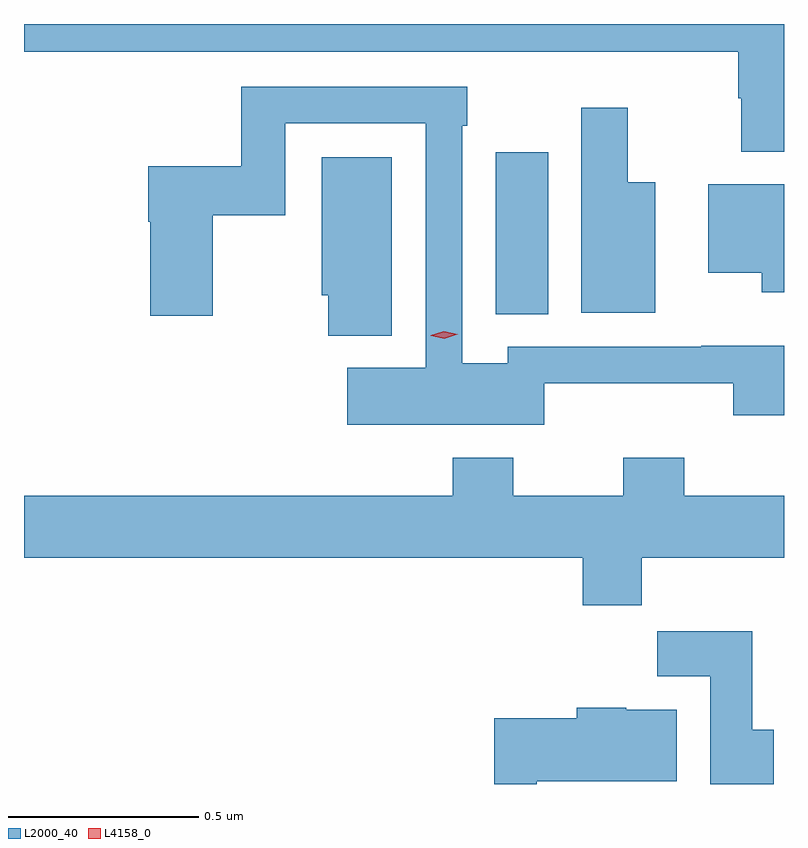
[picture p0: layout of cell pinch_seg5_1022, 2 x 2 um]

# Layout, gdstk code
import gdstk
lib = gdstk.Library(unit=1e-6, precision=1e-09)
def R(c, l, rs):  # rectangles x0, y0, x1, y1
    for r in rs: c.add(gdstk.rectangle(r[:2], r[2:], *l))
def P(c, l, *ps):  # polygons
    for p in ps: c.add(gdstk.Polygon(p, *l))
L2000_40 = (2000, 40)
L4158_0 = (4158, 0)

pinch_seg5_1022 = lib.new_cell('pinch_seg5_1022')
R(pinch_seg5_1022, L2000_40, [(750.107,865.393,750.244,865.819)])
P(pinch_seg5_1022, L2000_40, [(750.865,866.157),(748.865,866.157),(748.865,866.084),(750.745,866.084),(750.745,865.961),(750.753,865.961),(750.753,865.821),(750.865,865.821)],
  [(750.234,865.211),(750.731,865.211),(750.731,865.128),(750.865,865.128),(750.865,865.31),(750.647,865.31),(750.647,865.308),(750.138,865.308),(750.138,865.264),(750.018,865.264),(750.018,865.889),(750.031,865.889),(750.031,865.992),(749.437,865.992),(749.437,865.783),(749.192,865.783),(749.192,865.637),(749.197,865.637),(749.197,865.389),(749.362,865.389),(749.362,865.654),(749.553,865.654),(749.553,865.896),(749.922,865.896),(749.922,865.252),(749.715,865.252),(749.715,865.103),(750.234,865.103)],
  [(750.526,865.741),(750.454,865.741),(750.454,865.936),(750.332,865.936),(750.332,865.397),(750.526,865.397)],
  [(749.833,865.807),(749.648,865.807),(749.648,865.443),(749.666,865.443),(749.666,865.337),(749.833,865.337)],
  [(750.865,865.735),(750.665,865.735),(750.665,865.502),(750.807,865.502),(750.807,865.451),(750.865,865.451)],
  [(750.491,864.752),(750.865,864.752),(750.865,864.916),(750.602,864.916),(750.602,865.015),(750.442,865.015),(750.442,864.916),(750.153,864.916),(750.153,865.015),(749.993,865.015),(749.993,864.916),(748.865,864.916),(748.865,864.752),(750.335,864.752),(750.335,864.628),(750.491,864.628)],
  [(750.838,864.3),(750.781,864.3),(750.781,864.559),(750.532,864.559),(750.532,864.44),(750.671,864.44),(750.671,864.157),(750.838,864.157)],
  [(750.214,864.164),(750.583,864.164),(750.583,864.352),(750.45,864.352),(750.45,864.358),(750.32,864.358),(750.32,864.33),(750.102,864.33),(750.102,864.157),(750.214,864.157)])
P(pinch_seg5_1022, L4158_0, [(749.971,865.329),(749.936,865.337),(749.936,865.338),(749.936,865.338),(749.97,865.349),(750.006,865.34),(750.006,865.34),(750.006,865.34)])

lib.write_gds('pinch_seg5_1022.gds')
